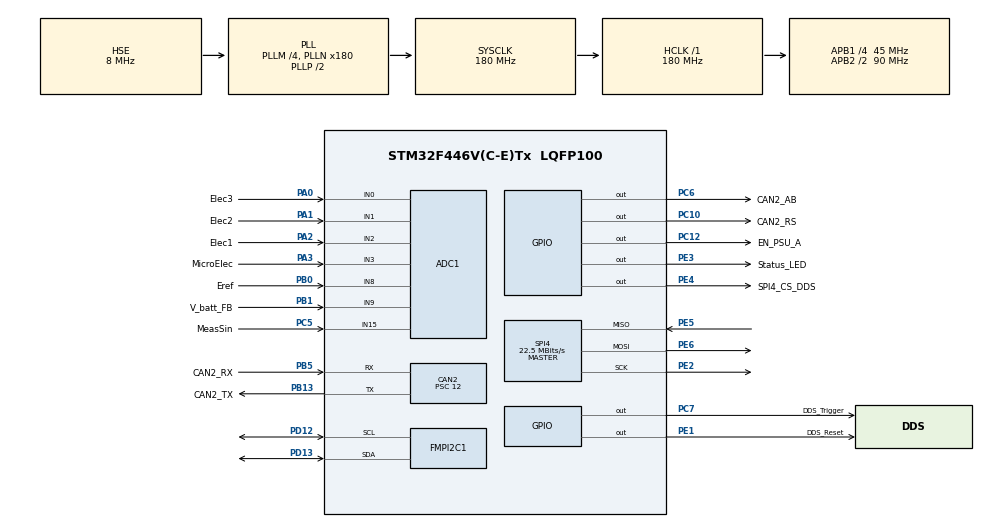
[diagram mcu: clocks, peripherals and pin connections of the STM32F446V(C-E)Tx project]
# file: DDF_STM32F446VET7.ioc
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ADC1.Channel-0\#ChannelRegularConversion=ADC_CHANNEL_9
ADC1.ContinuousConvMode=ENABLE
ADC1.EOCSelection=ADC_EOC_SEQ_CONV
ADC1.Mode=ADC_TRIPLEMODE_REGSIMULT
ADC1.NbrOfConversionFlag=1
ADC1.Rank-0\#ChannelRegularConversion=1
ADC1.SamplingTime-0\#ChannelRegularConversion=ADC_SAMPLETIME_3CYCLES
ADC1.master=1
ADC2.Channel-0\#ChannelRegularConversion=ADC_CHANNEL_8
ADC2.DMAAccessMode=ADC_DMAACCESSMODE_1
ADC2.EOCSelection=ADC_EOC_SEQ_CONV
ADC2.Mode=ADC_TRIPLEMODE_REGSIMULT
ADC2.NbrOfConversionFlag=1
ADC2.Rank-0\#ChannelRegularConversion=1
ADC2.SamplingTime-0\#ChannelRegularConversion=ADC_SAMPLETIME_3CYCLES
ADC3.Channel-0\#ChannelRegularConversion=ADC_CHANNEL_1
ADC3.EOCSelection=ADC_EOC_SEQ_CONV
ADC3.NbrOfConversionFlag=1
ADC3.Rank-0\#ChannelRegularConversion=1
ADC3.SamplingTime-0\#ChannelRegularConversion=ADC_SAMPLETIME_3CYCLES
CAN2.AWUM=DISABLE
CAN2.BS1=CAN_BS1_12TQ
CAN2.BS2=CAN_BS2_2TQ
CAN2.CalculateBaudRate=250000
CAN2.CalculateTimeBit=4000
CAN2.CalculateTimeQuantum=266.66666666666663
CAN2.Mode=CAN_MODE_NORMAL
CAN2.NART=ENABLE
CAN2.Prescaler=12
CAN2.SJW=CAN_SJW_1TQ
CAN2.TXFP=ENABLE
Dma.ADC1.0.Direction=DMA_PERIPH_TO_MEMORY
Dma.ADC1.0.FIFOMode=DMA_FIFOMODE_DISABLE
Dma.ADC1.0.Instance=DMA2_Stream0
Dma.ADC1.0.MemDataAlignment=DMA_MDATAALIGN_HALFWORD
Dma.ADC1.0.MemInc=DMA_MINC_ENABLE
Dma.ADC1.0.Mode=DMA_NORMAL
Dma.ADC1.0.PeriphDataAlignment=DMA_PDATAALIGN_HALFWORD
Dma.ADC1.0.PeriphInc=DMA_PINC_DISABLE
Dma.ADC1.0.Priority=DMA_PRIORITY_HIGH
Dma.ADC2.1.Direction=DMA_PERIPH_TO_MEMORY
Dma.ADC2.1.FIFOMode=DMA_FIFOMODE_DISABLE
Dma.ADC2.1.Instance=DMA2_Stream2
Dma.ADC2.1.MemDataAlignment=DMA_MDATAALIGN_HALFWORD
Dma.ADC2.1.MemInc=DMA_MINC_ENABLE
Dma.ADC2.1.Mode=DMA_NORMAL
Dma.ADC2.1.PeriphDataAlignment=DMA_PDATAALIGN_HALFWORD
Dma.ADC2.1.PeriphInc=DMA_PINC_DISABLE
Dma.ADC2.1.Priority=DMA_PRIORITY_HIGH
Dma.ADC3.2.Direction=DMA_PERIPH_TO_MEMORY
Dma.ADC3.2.FIFOMode=DMA_FIFOMODE_DISABLE
Dma.ADC3.2.Instance=DMA2_Stream1
Dma.ADC3.2.MemDataAlignment=DMA_MDATAALIGN_HALFWORD
Dma.ADC3.2.MemInc=DMA_MINC_ENABLE
Dma.ADC3.2.Mode=DMA_NORMAL
Dma.ADC3.2.PeriphDataAlignment=DMA_PDATAALIGN_HALFWORD
Dma.ADC3.2.PeriphInc=DMA_PINC_DISABLE
Dma.ADC3.2.Priority=DMA_PRIORITY_HIGH
Dma.Request0=ADC1
Dma.Request1=ADC2
Dma.Request2=ADC3
FMPI2C1.AddressingMode=FMPI2C_ADDRESSINGMODE_7BIT
FMPI2C1.Analog_Filter=FMPI2C_ANALOGFILTER_ENABLE
FMPI2C1.FMPI2C_Speed_Mode=FMPI2C_Fast
FMPI2C1.OwnAddress=1
FMPI2C1.Timing=0x00401650
IWDG.Prescaler=IWDG_PRESCALER_256
IWDG.Reload=(IWDG_TIMEOUT*LSI_CLOCK)/256
Mcu.Family=STM32F4
Mcu.Name=STM32F446V(C-E)Tx
Mcu.Package=LQFP100
Mcu.UserConstants=LSI_CLOCK,32000;IWDG_TIMEOUT,30
NVIC.CAN2_RX0_IRQn=true\:0\:0\:false\:false\:true\:true\:true\:true
NVIC.CAN2_SCE_IRQn=true\:0\:0\:false\:false\:true\:true\:true\:true
NVIC.CAN2_TX_IRQn=true\:0\:0\:false\:false\:true\:true\:true\:true
NVIC.DMA2_Stream0_IRQn=true\:0\:0\:false\:false\:true\:false\:true\:true
NVIC.DMA2_Stream1_IRQn=true\:0\:0\:false\:false\:true\:false\:true\:true
NVIC.DMA2_Stream2_IRQn=true\:0\:0\:false\:false\:true\:false\:true\:true
NVIC.PriorityGroup=NVIC_PRIORITYGROUP_4
NVIC.TIM8_UP_TIM13_IRQn=true\:1\:0\:true\:false\:true\:true\:true\:true
PA0-WKUP.GPIO_Label=Elec3
PA0-WKUP.Signal=ADCx_IN0
PA1.GPIO_Label=Elec2
PA1.Signal=ADCx_IN1
PA13.Mode=JTAG_5_pins
PA13.Signal=SYS_JTMS-SWDIO
PA14.Mode=JTAG_5_pins
PA14.Signal=SYS_JTCK-SWCLK
PA15.Mode=JTAG_5_pins
PA15.Signal=SYS_JTDI
PA2.GPIO_Label=Elec1
PA2.Signal=ADCx_IN2
PA3.GPIO_Label=MicroElec
PA3.Signal=ADCx_IN3
PB0.GPIO_Label=Eref
PB0.Signal=ADCx_IN8
PB1.GPIO_Label=V_batt_FB
PB1.Signal=ADCx_IN9
PB13.GPIO_Label=CAN2_TX
PB13.Mode=CAN_Activate
PB13.Signal=CAN2_TX
PB3.Mode=JTAG_5_pins
PB3.Signal=SYS_JTDO-SWO
PB4.Mode=JTAG_5_pins
PB4.Signal=SYS_JTRST
PB5.GPIO_Label=CAN2_RX
PB5.Mode=CAN_Activate
PB5.Signal=CAN2_RX
PC10.GPIO_Label=CAN2_RS
PC10.Signal=GPIO_Output
PC12.GPIO_Label=EN_PSU_A
PC12.Signal=GPIO_Output
PC5.GPIO_Label=MeasSin
PC5.Signal=ADCx_IN15
PC6.GPIO_Label=CAN2_AB
PC6.Signal=GPIO_Output
PC7.GPIO_Label=DDS_Trigger
PC7.GPIO_Speed=GPIO_SPEED_FREQ_VERY_HIGH
PC7.PinState=GPIO_PIN_SET
PC7.Signal=GPIO_Output
PD12.GPIO_PuPdOD=GPIO_NOPULL
PD12.Mode=I2C
PD12.Signal=FMPI2C1_SCL
PD13.GPIO_PuPdOD=GPIO_NOPULL
PD13.Mode=I2C
PD13.Signal=FMPI2C1_SDA
PE1.GPIO_Label=DDS_Reset
PE1.GPIO_Speed=GPIO_SPEED_FREQ_LOW
PE1.PinState=GPIO_PIN_SET
PE1.Signal=GPIO_Output
PE2.Mode=Full_Duplex_Master
PE2.Signal=SPI4_SCK
PE3.GPIO_Label=Status_LED
PE3.Signal=GPIO_Output
PE4.GPIO_Label=SPI4_CS_DDS
PE4.GPIO_Speed=GPIO_SPEED_FREQ_VERY_HIGH
PE4.PinState=GPIO_PIN_SET
PE4.Signal=GPIO_Output
PE5.Mode=Full_Duplex_Master
PE5.Signal=SPI4_MISO
PE6.Mode=Full_Duplex_Master
PE6.Signal=SPI4_MOSI
PH0-OSC_IN.Mode=HSE-External-Oscillator
PH0-OSC_IN.Signal=RCC_OSC_IN
PH1-OSC_OUT.Mode=HSE-External-Oscillator
PH1-OSC_OUT.Signal=RCC_OSC_OUT
ProjectManager.HeapSize=0x200
ProjectManager.StackSize=0x400
ProjectManager.TargetToolchain=STM32CubeIDE
RCC.AHBFreq_Value=180000000
RCC.APB1CLKDivider=RCC_HCLK_DIV4
RCC.APB1Freq_Value=45000000
RCC.APB1TimFreq_Value=90000000
RCC.APB2CLKDivider=RCC_HCLK_DIV2
RCC.APB2Freq_Value=90000000
RCC.APB2TimFreq_Value=180000000
RCC.CortexFreq_Value=180000000
RCC.HCLKFreq_Value=180000000
RCC.HSE_VALUE=8000000
RCC.PLLM=4
RCC.PLLN=180
RCC.PLLSourceVirtual=RCC_PLLSOURCE_HSE
RCC.SYSCLKFreq_VALUE=180000000
RCC.SYSCLKSource=RCC_SYSCLKSOURCE_PLLCLK
RCC.USBFreq_Value=180000000
RCC.VCOOutputFreq_Value=360000000
SH.ADCx_IN0.0=ADC1_IN0,IN0
SH.ADCx_IN0.1=ADC2_IN0,IN0
SH.ADCx_IN0.2=ADC3_IN0,IN0
SH.ADCx_IN1.0=ADC1_IN1,IN1
SH.ADCx_IN1.1=ADC2_IN1,IN1
SH.ADCx_IN1.2=ADC3_IN1,IN1
SH.ADCx_IN15.0=ADC1_IN15,IN15
SH.ADCx_IN15.1=ADC2_IN15,IN15
SH.ADCx_IN2.0=ADC1_IN2,IN2
SH.ADCx_IN2.1=ADC2_IN2,IN2
SH.ADCx_IN2.2=ADC3_IN2,IN2
SH.ADCx_IN3.0=ADC1_IN3,IN3
SH.ADCx_IN3.1=ADC2_IN3,IN3
SH.ADCx_IN3.2=ADC3_IN3,IN3
SH.ADCx_IN8.0=ADC1_IN8,IN8
SH.ADCx_IN8.1=ADC2_IN8,IN8
SH.ADCx_IN9.0=ADC1_IN9,IN9
SH.ADCx_IN9.1=ADC2_IN9,IN9
SPI4.BaudRatePrescaler=SPI_BAUDRATEPRESCALER_4
SPI4.CalculateBaudRate=22.5 MBits/s
SPI4.DataSize=SPI_DATASIZE_16BIT
SPI4.Direction=SPI_DIRECTION_2LINES
SPI4.Mode=SPI_MODE_MASTER
SPI4.VirtualType=VM_MASTER
TIM8.Channel-PWM\ Generation3\ No\ Output=TIM_CHANNEL_3
TIM8.OCFastMode_PWM-PWM\ Generation3\ No\ Output=TIM_OCFAST_ENABLE
TIM8.Period=9
TIM8.Prescaler=179
TIM8.Pulse-PWM\ Generation3\ No\ Output=5
VP_ADC1_TempSens_Input.Mode=IN-TempSens
VP_CRC_VS_CRC.Mode=CRC_Activate
VP_IWDG_VS_IWDG.Mode=IWDG_Activate
VP_TIM8_VS_ClockSourceINT.Mode=Internal
VP_TIM8_VS_no_output3.Mode=PWM Generation3 No Output
board=custom

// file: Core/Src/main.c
/* USER CODE BEGIN Header */
/**
 ******************************************************************************
 * @file           : main.c
 * @brief          : Main program body
 ******************************************************************************
 * @attention
 *
 * Copyright (c) 2023 STMicroelectronics.
 * All rights reserved.
 *
 * This software is licensed under terms that can be found in the LICENSE file
 * in the root directory of this software component.
 * If no LICENSE file comes with this software, it is provided AS-IS.
 *
 ******************************************************************************
 */

#define __MAIN_C
/* USER CODE END Header */
#include "main.h"

/* USER CODE BEGIN Includes */
#include "math.h"
#include "FLASH.h"
#include "ADC.h"
#include "Bootloader.h"
#include "CAN.h"
#include "LockIn.h"
#include "AS6214.h"
#include "DDS.h"
#include "MovingAverage.h"

/* USER CODE END Includes */

ADC_HandleTypeDef hadc1;
ADC_HandleTypeDef hadc2;
ADC_HandleTypeDef hadc3;
DMA_HandleTypeDef hdma_adc1;
DMA_HandleTypeDef hdma_adc2;
DMA_HandleTypeDef hdma_adc3;

CAN_HandleTypeDef hcan2;

CRC_HandleTypeDef hcrc;

FMPI2C_HandleTypeDef hfmpi2c1;

IWDG_HandleTypeDef hiwdg;

SPI_HandleTypeDef hspi4;

TIM_HandleTypeDef htim8;

/* USER CODE BEGIN PV */
extern CAN_RxHeaderTypeDef CAN_Rx_Header;
extern CAN_TRx_Data_TypeDef CAN_Rx_Data;

AD9106_HandleTypeDef DDS = {&hspi4, SPI4_CS_DDS_GPIO_Port, SPI4_CS_DDS_Pin, DDS_Reset_GPIO_Port, DDS_Reset_Pin, DDS_Trigger_GPIO_Port, DDS_Trigger_Pin};

AS6212_HandleTypeDef Temp_links = {&hfmpi2c1,0x48};
AS6212_HandleTypeDef Temp_mitte = {&hfmpi2c1,0x49};
AS6212_HandleTypeDef Temp_rechts = {&hfmpi2c1,0x4A};
AS6212_HandleTypeDef Temp_Elektrode = {&hfmpi2c1,0x4B};
/* USER CODE END PV */

void SystemClock_Config(void);
static void MX_GPIO_Init(void);
static void MX_DMA_Init(void);
static void MX_ADC1_Init(void);
static void MX_TIM8_Init(void);
static void MX_CAN2_Init(void);
static void MX_ADC2_Init(void);
static void MX_ADC3_Init(void);
static void MX_CRC_Init(void);
static void MX_SPI4_Init(void);
static void MX_FMPI2C1_Init(void);
static void MX_IWDG_Init(void);
/* USER CODE BEGIN PFP */
static void InitFactory(void);
void HAL_ADC_ConvCpltCallback(ADC_HandleTypeDef *hadc);
void HAL_CAN_RxFifo0MsgPendingCallback(CAN_HandleTypeDef *hcan);
AppError_t SystemCheck(void);
AppError_t WakeUp(void);

void AS6214_Init(void);
void nextstate(state_t_TypeDef nstate_t);
void MeasMode_Normal(LockIn_Results_TypeDef *hLockIn_Results);
void MeasMode_Sweep_Freq(LockIn_Results_TypeDef *hLockIn_Results);
void MeasMode_Single(LockIn_Results_TypeDef *hLockIn_Results);
void MeasMode_Sweep_Gain(LockIn_Results_TypeDef *hLockIn_Results);
void MeasMode_Sweep_Phase(LockIn_Results_TypeDef *hLockIn_Results);
void SweepParameter(LockIn_Results_TypeDef *hLockIn_Results);
void AutoZero(LockIn_Results_TypeDef *hLockIn_Results);
void SampleCalc(uint8_t Preset, uint16_t uAverages, const ElecTypeDef Sample_Elec[], LockIn_Results_TypeDef *hLockIn_Results);
void SampleCalcSingle(uint8_t Preset, uint16_t uAverages, const ElecTypeDef Sample_Elec, LockIn_Results_TypeDef *hLockIn_Results);

/* USER CODE END PFP */

int main(void)
{

  /* USER CODE BEGIN 1 */
	//JumpToBootloader();
  /* USER CODE END 1 */

  /* MCU Configuration--------------------------------------------------------*/

  /* Reset of all peripherals, Initializes the Flash interface and the Systick. */
  HAL_Init();

  /* Configure the system clock */
  SystemClock_Config();

  /* USER CODE BEGIN SysInit */
  //Refresh watchdog, can't use HAL function because IWDG handle is not initialized yet
  WRITE_REG(IWDG->KR, IWDG_KEY_RELOAD);
  //Initialisiert variablen für CANBUS
  InitFactory();
  /* USER CODE END SysInit */

  /* Initialize all configured peripherals */
  MX_GPIO_Init();
  MX_DMA_Init();
  MX_ADC1_Init();
  MX_TIM8_Init();
  MX_CAN2_Init();
  MX_ADC2_Init();
  MX_ADC3_Init();
  MX_CRC_Init();
  MX_SPI4_Init();
  MX_FMPI2C1_Init();
  MX_IWDG_Init();
  /* USER CODE BEGIN 2 */
	//Initialisieren aller Parameter
	InitGlobalVar();

	//  SystemCheck();
	WakeUp();

	__enable_irq();

  /* USER CODE END 2 */

  /* Infinite loop */
  /* USER CODE BEGIN WHILE */
	state_t_cur = stateIdle;
	while (1) {
    /* USER CODE END WHILE */

    /* USER CODE BEGIN 3 */
		HAL_IWDG_Refresh(&hiwdg);
		switch (state_t_cur) {
		case stateIdle:
			//nextstate(stateIdle);
			break;

		case stateSendLockIn:
			switch(TIS_Sensor.MeasMode){
				case MEASMODE_NORMAL:
					MeasMode_Normal(&LockIn_Results);
					break;

				case MEASMODE_SWEEP_FREQ:
					MeasMode_Sweep_Freq(&LockIn_Results);
					break;

				case MEASMODE_SINGLE:
					MeasMode_Single(&LockIn_Results);
					break;
//				case MEASMODE_SWEEP_GAIN:
//					MeasMode_Sweep_Gain(&LockIn_Results);
//					break;
//
//				case MEASMODE_SWEEP_PHASE:
//					MeasMode_Sweep_Phase(&LockIn_Results);
//					break;

				default:
					break;
			}
			nextstate(stateIdle);
			break;

		case stateSendAdditionalData:
				ADC_Vbat(&VBat);
				fTemp_Sensor[0] = AS6212_getTempC(&Temp_links);
				fTemp_Sensor[1] = AS6212_getTempC(&Temp_mitte);
				fTemp_Sensor[2] = AS6212_getTempC(&Temp_rechts);
				fTemp_Sensor[3] = AS6212_getTempC(&Temp_Elektrode);
				CAN_SendTemp_Vbat(&hcan2, fTemp_Sensor, &VBat);
				nextstate(stateIdle);
			break;

		case stateSendRawData:
			for (uint8_t uPre = 0; uPre < 3; uPre++) {	//Toggle alle 3 Frequenzen durch
				DDS_set_Preset(&DDS, &TIS_Sensor.Preset[uPre].DDS_Preset);

				SampleCalc(uPre, 1, &SampleElec[0][0], &LockIn_Results);
				while (ADC_Sampling.readIndex.Channel < 3
						&& ADC_Sampling.readIndex.Pos < ADC_Sampling.Length) {
					CAN_Send_ADC_RawData(&hcan2, uPre, &SampleElec[0][0]);	//Sende Rohwerte
				}

				SampleCalc(uPre, 1, &SampleElec[1][0], &LockIn_Results);
				while (ADC_Sampling.readIndex.Channel < 3
						&& ADC_Sampling.readIndex.Pos < ADC_Sampling.Length) {
					CAN_Send_ADC_RawData(&hcan2, uPre, &SampleElec[1][0]);	//Sende Rohwerte
				}
			}
			CAN_SendSensorInfo(&hcan2);
			CAN_SendError(&hcan2, APP_ERROR_OK);
			CAN_SendFreq_All(&hcan2);
			nextstate(stateIdle);
			break;

		case stateSendMetaData:
			CAN_Send_Systick(&hcan2);
			CAN_SendFreq_All(&hcan2);
			CAN_SendGainPhase_All(&hcan2);
			CAN_Send_Averages(&hcan2);
			nextstate(stateIdle);
			break;

		case stateSweepParameter:
			//Achtung: Möglicherweise Lange Laufzeit des Programms, je nach Parameter
			SweepParameter(&LockIn_Results);
			nextstate(stateIdle);
			break;

		case stateAutoZero:
			AutoZero(&LockIn_Results);
			nextstate(stateIdle);
			break;

		case stateSetCanFreq:
			CAN_Set_Freq_Preset(&hcan2, TIS_Sensor.CAN_Freq_Preset);
			nextstate(stateIdle);
			break;

		default:
			nextstate(stateIdle);
			break;
		}
		state_t_cur = state_t_next;
	}
  /* USER CODE END 3 */
}

void SystemClock_Config(void)
{
  RCC_OscInitTypeDef RCC_OscInitStruct = {0};
  RCC_ClkInitTypeDef RCC_ClkInitStruct = {0};

  /** Configure the main internal regulator output voltage
  */
  __HAL_RCC_PWR_CLK_ENABLE();
  __HAL_PWR_VOLTAGESCALING_CONFIG(PWR_REGULATOR_VOLTAGE_SCALE1);

  /** Initializes the RCC Oscillators according to the specified parameters
  * in the RCC_OscInitTypeDef structure.
  */
  RCC_OscInitStruct.OscillatorType = RCC_OSCILLATORTYPE_LSI|RCC_OSCILLATORTYPE_HSE;
  RCC_OscInitStruct.HSEState = RCC_HSE_ON;
  RCC_OscInitStruct.LSIState = RCC_LSI_ON;
  RCC_OscInitStruct.PLL.PLLState = RCC_PLL_ON;
  RCC_OscInitStruct.PLL.PLLSource = RCC_PLLSOURCE_HSE;
  RCC_OscInitStruct.PLL.PLLM = 4;
  RCC_OscInitStruct.PLL.PLLN = 180;
  RCC_OscInitStruct.PLL.PLLP = RCC_PLLP_DIV2;
  RCC_OscInitStruct.PLL.PLLQ = 2;
  RCC_OscInitStruct.PLL.PLLR = 2;
  if (HAL_RCC_OscConfig(&RCC_OscInitStruct) != HAL_OK)
  {
    Error_Handler();
  }

  /** Activate the Over-Drive mode
  */
  if (HAL_PWREx_EnableOverDrive() != HAL_OK)
  {
    Error_Handler();
  }

  /** Initializes the CPU, AHB and APB buses clocks
  */
  RCC_ClkInitStruct.ClockType = RCC_CLOCKTYPE_HCLK|RCC_CLOCKTYPE_SYSCLK
                              |RCC_CLOCKTYPE_PCLK1|RCC_CLOCKTYPE_PCLK2;
  RCC_ClkInitStruct.SYSCLKSource = RCC_SYSCLKSOURCE_PLLCLK;
  RCC_ClkInitStruct.AHBCLKDivider = RCC_SYSCLK_DIV1;
  RCC_ClkInitStruct.APB1CLKDivider = RCC_HCLK_DIV4;
  RCC_ClkInitStruct.APB2CLKDivider = RCC_HCLK_DIV2;

  if (HAL_RCC_ClockConfig(&RCC_ClkInitStruct, FLASH_LATENCY_5) != HAL_OK)
  {
    Error_Handler();
  }
}

static void MX_ADC1_Init(void)
{

  ADC_MultiModeTypeDef multimode = {0};
  ADC_ChannelConfTypeDef sConfig = {0};

  /** Configure the global features of the ADC (Clock, Resolution, Data Alignment and number of conversion)
  */
  hadc1.Instance = ADC1;
  hadc1.Init.ClockPrescaler = ADC_CLOCK_SYNC_PCLK_DIV4;
  hadc1.Init.Resolution = ADC_RESOLUTION_12B;
  hadc1.Init.ScanConvMode = DISABLE;
  hadc1.Init.ContinuousConvMode = ENABLE;
  hadc1.Init.DiscontinuousConvMode = DISABLE;
  hadc1.Init.ExternalTrigConvEdge = ADC_EXTERNALTRIGCONVEDGE_NONE;
  hadc1.Init.ExternalTrigConv = ADC_SOFTWARE_START;
  hadc1.Init.DataAlign = ADC_DATAALIGN_RIGHT;
  hadc1.Init.NbrOfConversion = 1;
  hadc1.Init.DMAContinuousRequests = DISABLE;
  hadc1.Init.EOCSelection = ADC_EOC_SEQ_CONV;
  if (HAL_ADC_Init(&hadc1) != HAL_OK)
  {
    Error_Handler();
  }

  /** Configure the ADC multi-mode
  */
  multimode.Mode = ADC_TRIPLEMODE_REGSIMULT;
  multimode.DMAAccessMode = ADC_DMAACCESSMODE_1;
  multimode.TwoSamplingDelay = ADC_TWOSAMPLINGDELAY_5CYCLES;
  if (HAL_ADCEx_MultiModeConfigChannel(&hadc1, &multimode) != HAL_OK)
  {
    Error_Handler();
  }

  /** Configure for the selected ADC regular channel its corresponding rank in the sequencer and its sample time.
  */
  sConfig.Channel = ADC_CHANNEL_9;
  sConfig.Rank = 1;
  sConfig.SamplingTime = ADC_SAMPLETIME_3CYCLES;
  if (HAL_ADC_ConfigChannel(&hadc1, &sConfig) != HAL_OK)
  {
    Error_Handler();
  }

}

static void MX_ADC2_Init(void)
{

  ADC_ChannelConfTypeDef sConfig = {0};

  /** Configure the global features of the ADC (Clock, Resolution, Data Alignment and number of conversion)
  */
  hadc2.Instance = ADC2;
  hadc2.Init.ClockPrescaler = ADC_CLOCK_SYNC_PCLK_DIV4;
  hadc2.Init.Resolution = ADC_RESOLUTION_12B;
  hadc2.Init.ScanConvMode = DISABLE;
  hadc2.Init.ContinuousConvMode = ENABLE;
  hadc2.Init.DiscontinuousConvMode = DISABLE;
  hadc2.Init.DataAlign = ADC_DATAALIGN_RIGHT;
  hadc2.Init.NbrOfConversion = 1;
  hadc2.Init.DMAContinuousRequests = DISABLE;
  hadc2.Init.EOCSelection = ADC_EOC_SEQ_CONV;
  if (HAL_ADC_Init(&hadc2) != HAL_OK)
  {
    Error_Handler();
  }

  /** Configure for the selected ADC regular channel its corresponding rank in the sequencer and its sample time.
  */
  sConfig.Channel = ADC_CHANNEL_8;
  sConfig.Rank = 1;
  sConfig.SamplingTime = ADC_SAMPLETIME_3CYCLES;
  if (HAL_ADC_ConfigChannel(&hadc2, &sConfig) != HAL_OK)
  {
    Error_Handler();
  }

}

static void MX_ADC3_Init(void)
{

  ADC_ChannelConfTypeDef sConfig = {0};

  /** Configure the global features of the ADC (Clock, Resolution, Data Alignment and number of conversion)
  */
  hadc3.Instance = ADC3;
  hadc3.Init.ClockPrescaler = ADC_CLOCK_SYNC_PCLK_DIV4;
  hadc3.Init.Resolution = ADC_RESOLUTION_12B;
  hadc3.Init.ScanConvMode = DISABLE;
  hadc3.Init.ContinuousConvMode = ENABLE;
  hadc3.Init.DiscontinuousConvMode = DISABLE;
  hadc3.Init.DataAlign = ADC_DATAALIGN_RIGHT;
  hadc3.Init.NbrOfConversion = 1;
  hadc3.Init.DMAContinuousRequests = DISABLE;
  hadc3.Init.EOCSelection = ADC_EOC_SEQ_CONV;
  if (HAL_ADC_Init(&hadc3) != HAL_OK)
  {
    Error_Handler();
  }

  /** Configure for the selected ADC regular channel its corresponding rank in the sequencer and its sample time.
  */
  sConfig.Channel = ADC_CHANNEL_1;
  sConfig.Rank = 1;
  sConfig.SamplingTime = ADC_SAMPLETIME_3CYCLES;
  if (HAL_ADC_ConfigChannel(&hadc3, &sConfig) != HAL_OK)
  {
    Error_Handler();
  }

}

static void MX_CAN2_Init(void)
{

  /* USER CODE BEGIN CAN2_Init 0 */
	CAN_Init_Tx_Header();
  /* USER CODE END CAN2_Init 0 */

  /* USER CODE BEGIN CAN2_Init 1 */
	//Bittimings: http://www.bittiming.can-wiki.info/
  /* USER CODE END CAN2_Init 1 */
  hcan2.Instance = CAN2;
  hcan2.Init.Prescaler = 12;
  hcan2.Init.Mode = CAN_MODE_NORMAL;
  hcan2.Init.SyncJumpWidth = CAN_SJW_1TQ;
  hcan2.Init.TimeSeg1 = CAN_BS1_12TQ;
  hcan2.Init.TimeSeg2 = CAN_BS2_2TQ;
  hcan2.Init.TimeTriggeredMode = DISABLE;
  hcan2.Init.AutoBusOff = DISABLE;
  hcan2.Init.AutoWakeUp = DISABLE;
  hcan2.Init.AutoRetransmission = ENABLE;
  hcan2.Init.ReceiveFifoLocked = DISABLE;
  hcan2.Init.TransmitFifoPriority = ENABLE;
  if (HAL_CAN_Init(&hcan2) != HAL_OK)
  {
    Error_Handler();
  }
  /* USER CODE BEGIN CAN2_Init 2 */
	//Filtersetup für allgemein eingehende Nachrichten auf CAN_SENSOR_ADR
  	//Wenn das Ergebnis der bitweisen AND-Operation zwischen dem empfangenen Identifier und der Maske gleich der Filter-Id ist, dann wird die Nachricht vom Filter akzeptiert.
	CAN_FilterTypeDef CAN_FILTER_CONFIG;
	CAN_FILTER_CONFIG.FilterActivation = CAN_FILTER_ENABLE;
	CAN_FILTER_CONFIG.SlaveStartFilterBank = 1;	//insgesamt 28 Filter, geteilt zwischen CAN1 (Master) CAN2(Slave) aktuell Can1: 0 Can2: 1-27
	CAN_FILTER_CONFIG.FilterBank = 1;		//Alles ab SlaveStartFilterBank
	CAN_FILTER_CONFIG.FilterFIFOAssignment = CAN_RX_FIFO0;
	CAN_FILTER_CONFIG.FilterIdHigh = (CAN_SENSOR_FILTER_ID(can_sensor_id) >> 16) & 0xFFFF;	//Shift um 5, da EXID die ersten 5 Bits belegt. [RM0390 Rev 6 S.1057]
	CAN_FILTER_CONFIG.FilterIdLow = CAN_SENSOR_FILTER_ID(can_sensor_id) & 0xFFFF;
	CAN_FILTER_CONFIG.FilterMaskIdHigh = (CAN_SENSOR_FILTER_MASK >> 16) & 0xFFFF;
	CAN_FILTER_CONFIG.FilterMaskIdLow = CAN_SENSOR_FILTER_MASK & 0xFFFF;
	CAN_FILTER_CONFIG.FilterMode = CAN_FILTERMODE_IDMASK;
	CAN_FILTER_CONFIG.FilterScale = CAN_FILTERSCALE_32BIT;
	if (HAL_CAN_ConfigFilter(&hcan2, &CAN_FILTER_CONFIG) != HAL_OK) {
		Error_Handler();
	}
  /* USER CODE END CAN2_Init 2 */

}

static void MX_CRC_Init(void)
{

  hcrc.Instance = CRC;
  if (HAL_CRC_Init(&hcrc) != HAL_OK)
  {
    Error_Handler();
  }

}

static void MX_FMPI2C1_Init(void)
{

  hfmpi2c1.Instance = FMPI2C1;
  hfmpi2c1.Init.Timing = 0x00401650;
  hfmpi2c1.Init.OwnAddress1 = 2;
  hfmpi2c1.Init.AddressingMode = FMPI2C_ADDRESSINGMODE_7BIT;
  hfmpi2c1.Init.DualAddressMode = FMPI2C_DUALADDRESS_DISABLE;
  hfmpi2c1.Init.OwnAddress2 = 0;
  hfmpi2c1.Init.OwnAddress2Masks = FMPI2C_OA2_NOMASK;
  hfmpi2c1.Init.GeneralCallMode = FMPI2C_GENERALCALL_DISABLE;
  hfmpi2c1.Init.NoStretchMode = FMPI2C_NOSTRETCH_DISABLE;
  if (HAL_FMPI2C_Init(&hfmpi2c1) != HAL_OK)
  {
    Error_Handler();
  }

  /** Configure Analogue filter
  */
  if (HAL_FMPI2CEx_ConfigAnalogFilter(&hfmpi2c1, FMPI2C_ANALOGFILTER_ENABLE) != HAL_OK)
  {
    Error_Handler();
  }

}

static void MX_IWDG_Init(void)
{

  hiwdg.Instance = IWDG;
  hiwdg.Init.Prescaler = IWDG_PRESCALER_256;
  hiwdg.Init.Reload = (IWDG_TIMEOUT*LSI_CLOCK)/256;
  if (HAL_IWDG_Init(&hiwdg) != HAL_OK)
  {
    Error_Handler();
  }

}

static void MX_SPI4_Init(void)
{

  /* SPI4 parameter configuration*/
  hspi4.Instance = SPI4;
  hspi4.Init.Mode = SPI_MODE_MASTER;
  hspi4.Init.Direction = SPI_DIRECTION_2LINES;
  hspi4.Init.DataSize = SPI_DATASIZE_16BIT;
  hspi4.Init.CLKPolarity = SPI_POLARITY_LOW;
  hspi4.Init.CLKPhase = SPI_PHASE_1EDGE;
  hspi4.Init.NSS = SPI_NSS_SOFT;
  hspi4.Init.BaudRatePrescaler = SPI_BAUDRATEPRESCALER_4;
  hspi4.Init.FirstBit = SPI_FIRSTBIT_MSB;
  hspi4.Init.TIMode = SPI_TIMODE_DISABLE;
  hspi4.Init.CRCCalculation = SPI_CRCCALCULATION_DISABLE;
  hspi4.Init.CRCPolynomial = 10;
  if (HAL_SPI_Init(&hspi4) != HAL_OK)
  {
    Error_Handler();
  }

}

static void MX_TIM8_Init(void)
{

  TIM_ClockConfigTypeDef sClockSourceConfig = {0};
  TIM_MasterConfigTypeDef sMasterConfig = {0};
  TIM_OC_InitTypeDef sConfigOC = {0};
  TIM_BreakDeadTimeConfigTypeDef sBreakDeadTimeConfig = {0};

  htim8.Instance = TIM8;
  htim8.Init.Prescaler = 179;
  htim8.Init.CounterMode = TIM_COUNTERMODE_UP;
  htim8.Init.Period = 9;
  htim8.Init.ClockDivision = TIM_CLOCKDIVISION_DIV1;
  htim8.Init.RepetitionCounter = 0;
  htim8.Init.AutoReloadPreload = TIM_AUTORELOAD_PRELOAD_DISABLE;
  if (HAL_TIM_Base_Init(&htim8) != HAL_OK)
  {
    Error_Handler();
  }
  sClockSourceConfig.ClockSource = TIM_CLOCKSOURCE_INTERNAL;
  if (HAL_TIM_ConfigClockSource(&htim8, &sClockSourceConfig) != HAL_OK)
  {
    Error_Handler();
  }
  if (HAL_TIM_PWM_Init(&htim8) != HAL_OK)
  {
    Error_Handler();
  }
  sMasterConfig.MasterOutputTrigger = TIM_TRGO_RESET;
  sMasterConfig.MasterSlaveMode = TIM_MASTERSLAVEMODE_DISABLE;
  if (HAL_TIMEx_MasterConfigSynchronization(&htim8, &sMasterConfig) != HAL_OK)
  {
    Error_Handler();
  }
  sConfigOC.OCMode = TIM_OCMODE_PWM1;
  sConfigOC.Pulse = 5;
  sConfigOC.OCPolarity = TIM_OCPOLARITY_HIGH;
  sConfigOC.OCNPolarity = TIM_OCNPOLARITY_HIGH;
  sConfigOC.OCFastMode = TIM_OCFAST_ENABLE;
  sConfigOC.OCIdleState = TIM_OCIDLESTATE_RESET;
  sConfigOC.OCNIdleState = TIM_OCNIDLESTATE_RESET;
  if (HAL_TIM_PWM_ConfigChannel(&htim8, &sConfigOC, TIM_CHANNEL_3) != HAL_OK)
  {
    Error_Handler();
  }
  sBreakDeadTimeConfig.OffStateRunMode = TIM_OSSR_DISABLE;
  sBreakDeadTimeConfig.OffStateIDLEMode = TIM_OSSI_DISABLE;
  sBreakDeadTimeConfig.LockLevel = TIM_LOCKLEVEL_OFF;
  sBreakDeadTimeConfig.DeadTime = 0;
  sBreakDeadTimeConfig.BreakState = TIM_BREAK_DISABLE;
  sBreakDeadTimeConfig.BreakPolarity = TIM_BREAKPOLARITY_HIGH;
  sBreakDeadTimeConfig.AutomaticOutput = TIM_AUTOMATICOUTPUT_DISABLE;
  if (HAL_TIMEx_ConfigBreakDeadTime(&htim8, &sBreakDeadTimeConfig) != HAL_OK)
  {
    Error_Handler();
  }

}

static void MX_DMA_Init(void)
{

  /* DMA controller clock enable */
  __HAL_RCC_DMA2_CLK_ENABLE();

  /* DMA interrupt init */
  /* DMA2_Stream0_IRQn interrupt configuration */
  HAL_NVIC_SetPriority(DMA2_Stream0_IRQn, 0, 0);
  HAL_NVIC_EnableIRQ(DMA2_Stream0_IRQn);
  /* DMA2_Stream1_IRQn interrupt configuration */
  HAL_NVIC_SetPriority(DMA2_Stream1_IRQn, 0, 0);
  HAL_NVIC_EnableIRQ(DMA2_Stream1_IRQn);
  /* DMA2_Stream2_IRQn interrupt configuration */
  HAL_NVIC_SetPriority(DMA2_Stream2_IRQn, 0, 0);
  HAL_NVIC_EnableIRQ(DMA2_Stream2_IRQn);

}

static void MX_GPIO_Init(void)
{
  GPIO_InitTypeDef GPIO_InitStruct = {0};

  /* GPIO Ports Clock Enable */
  __HAL_RCC_GPIOE_CLK_ENABLE();
  __HAL_RCC_GPIOH_CLK_ENABLE();
  __HAL_RCC_GPIOA_CLK_ENABLE();
  __HAL_RCC_GPIOC_CLK_ENABLE();
  __HAL_RCC_GPIOB_CLK_ENABLE();
  __HAL_RCC_GPIOD_CLK_ENABLE();

  /*Configure GPIO pin Output Level */
  HAL_GPIO_WritePin(Status_LED_GPIO_Port, Status_LED_Pin, GPIO_PIN_RESET);

  /*Configure GPIO pin Output Level */
  HAL_GPIO_WritePin(GPIOE, SPI4_CS_DDS_Pin|DDS_Reset_Pin, GPIO_PIN_SET);

  /*Configure GPIO pin Output Level */
  HAL_GPIO_WritePin(GPIOC, CAN2_AB_Pin|CAN2_RS_Pin|EN_PSU_A_Pin, GPIO_PIN_RESET);

  /*Configure GPIO pin Output Level */
  HAL_GPIO_WritePin(DDS_Trigger_GPIO_Port, DDS_Trigger_Pin, GPIO_PIN_SET);

  /*Configure GPIO pins : Status_LED_Pin DDS_Reset_Pin */
  GPIO_InitStruct.Pin = Status_LED_Pin|DDS_Reset_Pin;
  GPIO_InitStruct.Mode = GPIO_MODE_OUTPUT_PP;
  GPIO_InitStruct.Pull = GPIO_NOPULL;
  GPIO_InitStruct.Speed = GPIO_SPEED_FREQ_LOW;
  HAL_GPIO_Init(GPIOE, &GPIO_InitStruct);

  /*Configure GPIO pin : SPI4_CS_DDS_Pin */
  GPIO_InitStruct.Pin = SPI4_CS_DDS_Pin;
  GPIO_InitStruct.Mode = GPIO_MODE_OUTPUT_PP;
  GPIO_InitStruct.Pull = GPIO_NOPULL;
  GPIO_InitStruct.Speed = GPIO_SPEED_FREQ_VERY_HIGH;
  HAL_GPIO_Init(SPI4_CS_DDS_GPIO_Port, &GPIO_InitStruct);

  /*Configure GPIO pins : CAN2_AB_Pin CAN2_RS_Pin EN_PSU_A_Pin */
  GPIO_InitStruct.Pin = CAN2_AB_Pin|CAN2_RS_Pin|EN_PSU_A_Pin;
  GPIO_InitStruct.Mode = GPIO_MODE_OUTPUT_PP;
  GPIO_InitStruct.Pull = GPIO_NOPULL;
  GPIO_InitStruct.Speed = GPIO_SPEED_FREQ_LOW;
  HAL_GPIO_Init(GPIOC, &GPIO_InitStruct);

  /*Configure GPIO pin : DDS_Trigger_Pin */
  GPIO_InitStruct.Pin = DDS_Trigger_Pin;
  GPIO_InitStruct.Mode = GPIO_MODE_OUTPUT_PP;
  GPIO_InitStruct.Pull = GPIO_NOPULL;
  GPIO_InitStruct.Speed = GPIO_SPEED_FREQ_VERY_HIGH;
  HAL_GPIO_Init(DDS_Trigger_GPIO_Port, &GPIO_InitStruct);

}

/* USER CODE BEGIN 4 */
/**
 * @brief  Regular conversion complete callback in non blocking mode
 * @param  hadc pointer to a ADC_HandleTypeDef structure that contains
 *         the configuration information for the specified ADC.
 * @retval None
 */
void HAL_ADC_ConvCpltCallback(ADC_HandleTypeDef *hadc) {
	ADC_Sampling.ConCplet = 0;
	//HAL_ADCEx_MultiModeStop_DMA(&hadc1);

}

/**
 * @brief  Period elapsed callback in non-blocking mode
 * @param  htim TIM handle
 * @retval None
 */
void HAL_TIM_PeriodElapsedCallback(TIM_HandleTypeDef *htim) {
	ADC_Sampling.TimerSync = 0;
}

AppError_t SystemCheck(void) {
	// Spannungen Überprüfen, insbesondere Vref, und 5 V
	return APP_ERROR_OK;
}

AppError_t WakeUp(void) {
	HAL_GPIO_WritePin(EN_PSU_A_GPIO_Port, EN_PSU_A_Pin, GPIO_PIN_SET);
	//HAL_GPIO_WritePin(Status_LED_GPIO_Port, Status_LED_Pin, GPIO_PIN_SET);

//	HAL_TIM_Base_Start(&htim8);
//	HAL_TIM_PWM_Start(&htim8, TIM_CHANNEL_1);
//	__HAL_TIM_ENABLE_IT(&htim8, TIM_IT_UPDATE);

	CAN2_TRX_Set_Power(CAN_TRX_SET_POWER_ON);
	CAN2_TRX_Set_Loopback(CAN_TRX_SET_LOOPBACK_OFF);
	CAN_Set_Mode(&hcan2, CAN_SET_ENABLE);

	AS6214_Init();
	DDS_Init(&DDS);
	return APP_ERROR_OK;
}

void HAL_CAN_RxFifo0MsgPendingCallback(CAN_HandleTypeDef *hcan) {
	HAL_CAN_GetRxMessage(hcan, CAN_RX_FIFO0, &CAN_Rx_Header, CAN_Rx_Data.u8);
	CAN_ReadCMD();
}

void nextstate(state_t_TypeDef nstate_t) {
	if (state_t_cur == state_t_next) {//Dann wurde dieser nicht vom Host geändert.
		state_t_next = nstate_t;
	}
}

void SampleCalc(uint8_t Preset, uint16_t uAverages, const ElecTypeDef Sample_Elec[], LockIn_Results_TypeDef *hLockIn_Results){
	Lock_In_Results_Reset(hLockIn_Results);
	ADC_Sample_Elec_DDS(&Sample_Elec[0]);
	LockIn_CalcAdd(Preset, hLockIn_Results);
	if(uAverages>1){
		for(uint16_t i = 1; i<uAverages; i++){
			ADC_Sample_Elec_DDS(&Sample_Elec[0]);
			LockIn_CalcAdd(Preset, hLockIn_Results);
		}
		for(uint8_t i= 0; i<3 ; i++){
			hLockIn_Results->Ampl[i] /= uAverages;
			hLockIn_Results->Phase[i] /= uAverages;
		}
	}
}

void SampleCalcSingle(uint8_t Preset, uint16_t uAverages, const ElecTypeDef Sample_Elec, LockIn_Results_TypeDef *hLockIn_Results){
	Lock_In_Results_Reset(hLockIn_Results);
	ADC_Sample_Elec_DDS_Single(Sample_Elec);
	LockIn_CalcAdd(Preset, hLockIn_Results);
	if(uAverages>1){
		for(uint16_t i = 1; i<uAverages; i++){
			ADC_Sample_Elec_DDS_Single(Sample_Elec);
			LockIn_CalcAdd(Preset, hLockIn_Results);
		}
		for(uint8_t i= 0; i<3 ; i++){
			hLockIn_Results->Ampl[i] /= uAverages;
			hLockIn_Results->Phase[i] /= uAverages;
		}
	}
}

void MeasMode_Normal(LockIn_Results_TypeDef *hLockIn_Results){
	for (uint8_t uPre = 0; uPre < 3; uPre++) {
		HAL_GPIO_TogglePin(Status_LED_GPIO_Port, Status_LED_Pin);
		DDS_set_Preset(&DDS, &TIS_Sensor.Preset[uPre].DDS_Preset);

		SampleCalc(uPre, TIS_Sensor.Averages_LockIn, &SampleElec[0][0], hLockIn_Results);
		CAN_Send_MeasMode_Normal(&hcan2, uPre, &SampleElec[0][0], hLockIn_Results);
		SampleCalc(uPre, TIS_Sensor.Averages_LockIn, &SampleElec[1][0], hLockIn_Results);
		CAN_Send_MeasMode_Normal(&hcan2, uPre, &SampleElec[1][0], hLockIn_Results);
	}
}

void MeasMode_Sweep_Freq(LockIn_Results_TypeDef *hLockIn_Results){
	static uint32_t iSweep = 0;  // Fortschritt speichern
	float fSweep = TIS_Sensor.SweepParameter.fStart + iSweep * TIS_Sensor.SweepParameter.fStep;
	//Berechne Bestmögliche Frequenz des DDS
	fSweep = DDS_Calc_Freq(fSweep);

	// Überprüfen, ob der Sweep innerhalb seiner Grenzen ist
	if (fSweep < TIS_Sensor.SweepParameter.fStart ||
	    		fSweep > TIS_Sensor.SweepParameter.fStop) {
	        fSweep = TIS_Sensor.SweepParameter.fStart;  // Reset für neuen Zyklus
	        iSweep = 0;
	    }
				if(fSweep < PWM_FREQ_MIN
						|| fSweep > PWM_FREQ_MAX
						|| fSweep == TIS_Sensor.Preset[0].fFreq_ist){
					iSweep++;
					return;
				}
				TIS_Sensor.Preset[0].fFreq_soll = fSweep;
				Preset_Calc(0, TIS_Sensor.Preset[0].fFreq_soll);
				DDS_set_Preset(&DDS, &TIS_Sensor.Preset[0].DDS_Preset);

				//Starte Run:
				HAL_GPIO_TogglePin(Status_LED_GPIO_Port, Status_LED_Pin);
				SampleCalc(0, TIS_Sensor.Averages_LockIn, &SampleElec[0][0], hLockIn_Results);
				CAN_Send_MeasMode_Sweep(&hcan2, 0, &SampleElec[0][0], hLockIn_Results);
				SampleCalc(0, TIS_Sensor.Averages_LockIn, &SampleElec[1][0], hLockIn_Results);
				CAN_Send_MeasMode_Sweep(&hcan2, 0, &SampleElec[1][0], hLockIn_Results);

				iSweep++;
}

void MeasMode_Single(LockIn_Results_TypeDef *hLockIn_Results){
	ElecTypeDef Electrode = EMICRO;
	for (uint8_t uPre = 0; uPre < 3; uPre++) {
		HAL_GPIO_TogglePin(Status_LED_GPIO_Port, Status_LED_Pin);
		DDS_set_Preset(&DDS, &TIS_Sensor.Preset[uPre].DDS_Preset);

		SampleCalcSingle(uPre, TIS_Sensor.Averages_LockIn, Electrode, hLockIn_Results);
		CAN_Send_MeasMode_Single(&hcan2, uPre, Electrode, hLockIn_Results);
	}
}

void MeasMode_Sweep_Gain(LockIn_Results_TypeDef *hLockIn_Results){

}

void MeasMode_Sweep_Phase(LockIn_Results_TypeDef *hLockIn_Results){

}

void SweepParameter(LockIn_Results_TypeDef *hLockIn_Results){
	//Sichere altes Preset:
	Preset_TypeDef Preset_Backup = TIS_Sensor.Preset[0];

	switch(TIS_Sensor.SweepParameter.uParameter[0]){
	case SWEEP_MODE_FREQ:
		for(float fSweep=TIS_Sensor.SweepParameter.fStart; fSweep<TIS_Sensor.SweepParameter.fStop;fSweep+=TIS_Sensor.SweepParameter.fStep){
			if(fSweep < PWM_FREQ_MIN
					|| fSweep > PWM_FREQ_MAX){
				break;
			}
			TIS_Sensor.Preset[0].fFreq_soll = fSweep;
			Preset_Calc(0, TIS_Sensor.Preset[0].fFreq_soll);
			DDS_set_Preset(&DDS, &TIS_Sensor.Preset[0].DDS_Preset);

			//Starte Run:
			HAL_GPIO_TogglePin(Status_LED_GPIO_Port, Status_LED_Pin);
			CAN_SendFreq(&hcan2, 0);
			SampleCalc(0, TIS_Sensor.Averages_LockIn, &SampleElec[0][0], hLockIn_Results);
			SampleCalc(0, TIS_Sensor.Averages_LockIn, &SampleElec[1][0], hLockIn_Results);
		}
		break;
	case SWEEP_MODE_GAIN:
		if(TIS_Sensor.SweepParameter.uParameter[1] > 3){ //4 DDS Channel
			break;
		}
		for(float fSweep=TIS_Sensor.SweepParameter.fStart; fSweep<TIS_Sensor.SweepParameter.fStop;fSweep+=TIS_Sensor.SweepParameter.fStep){
			int16_t iGain = (int16_t)roundf(fSweep);
			if(iGain < DDS_GAIN_MIN
					|| iGain > DDS_GAIN_MAX){
				break;
			}
			TIS_Sensor.Preset[0].DDS_Preset.iDACx_Dig_Gain[TIS_Sensor.SweepParameter.uParameter[1]] = iGain;
			DDS_set_Preset(&DDS, &TIS_Sensor.Preset[0].DDS_Preset);

			//Starte Run:
			HAL_GPIO_TogglePin(Status_LED_GPIO_Port, Status_LED_Pin);
			CAN_SendGain(&hcan2, 0);
			SampleCalc(0, TIS_Sensor.Averages_LockIn, &SampleElec[0][0], hLockIn_Results);
			SampleCalc(0, TIS_Sensor.Averages_LockIn, &SampleElec[1][0], hLockIn_Results);
		}
		break;
	case SWEEP_MODE_PHASE:
		if(TIS_Sensor.SweepParameter.uParameter[1] > 3){ //4 DDS Channel
			break;
		}
		for(float fSweep=TIS_Sensor.SweepParameter.fStart; fSweep<TIS_Sensor.SweepParameter.fStop;fSweep+=TIS_Sensor.SweepParameter.fStep){
			uint16_t uPhase = (uint16_t)roundf(fSweep);
			if(uPhase < DDS_PHASE_MIN
					|| uPhase > DDS_PHASE_MAX){
				break;
			}
			TIS_Sensor.Preset[0].DDS_Preset.uDDSx_Phase[TIS_Sensor.SweepParameter.uParameter[1]] = uPhase;
			DDS_set_Preset(&DDS, &TIS_Sensor.Preset[0].DDS_Preset);

			//Starte Run:
			HAL_GPIO_TogglePin(Status_LED_GPIO_Port, Status_LED_Pin);
			CAN_SendPhase(&hcan2, 0);
			SampleCalc(0, TIS_Sensor.Averages_LockIn, &SampleElec[0][0], hLockIn_Results);
			SampleCalc(0, TIS_Sensor.Averages_LockIn, &SampleElec[1][0], hLockIn_Results);
		}
		break;
	default:
		break;
	}
	//Stelle altes Preset wieder her
	TIS_Sensor.Preset[0] = Preset_Backup;
	Preset_Calc(0, TIS_Sensor.Preset[0].fFreq_soll);
}

uint16_t AutoZero_FindGlobalMin_Phase(uint8_t uPreset, ElecTypeDef AutoZero_Elec[], ElecTypeDef uElec, LockIn_Results_TypeDef *hLockIn_Results, int32_t istart, int32_t istop, uint16_t istep){
	circular_buf_t buffer;
	CircularBuf_init(&buffer, 2048.0f);

	uint16_t uMin_index = 0;
	float fMinAverage = 2048;
	for(int32_t i = istart; i<= istop; i+= istep){
		TIS_Sensor.Preset[uPreset].DDS_Preset.uDDSx_Phase[Elec_to_DDS_mapping[uElec]] = i;
		DDS_set_Preset(&DDS, &TIS_Sensor.Preset[uPreset].DDS_Preset);
		CAN_SendPhase(&hcan2, uPreset);

		//Starte Messwertaufnahme:
		HAL_GPIO_TogglePin(Status_LED_GPIO_Port, Status_LED_Pin);
		SampleCalc(uPreset, TIS_Sensor.Averages_LockIn, &AutoZero_Elec[0], hLockIn_Results);
		switch(uElec){				//Achtung: Auslesen der Daten ist hartgecoded.
			case EMICRO:
				CircularBuf_addValue(&buffer, hLockIn_Results->Ampl[0]);
				break;
			case E1:
				CircularBuf_addValue(&buffer, hLockIn_Results->Ampl[1]);
				break;
			case E2:
				CircularBuf_addValue(&buffer, hLockIn_Results->Ampl[2]);
				break;
			default:
				CircularBuf_addValue(&buffer, 2048);
				break;
		}

		float current_average = CircularBuf_average(&buffer);
        if (current_average < fMinAverage) {
			if(i>=istep*(AUTOZERO_MOVING_AVERAGE_SIZE/2)){
				fMinAverage = current_average;
				uMin_index = i-istep*(AUTOZERO_MOVING_AVERAGE_SIZE/2);
        	}
        }
	}

	return uMin_index;
}

void AutoZero_Phase_Refinement_Logic(uint8_t uPreset, ElecTypeDef AutoZero_Elec[], ElecTypeDef uElec, LockIn_Results_TypeDef *hLockIn_Results){
	int32_t istart = DDS_PHASE_MIN;
	int32_t istop = DDS_PHASE_MAX;
	uint16_t ustep = AUTOZERO_INITIAL_STEP_PHASE;

	uint16_t uMin_index = 0;
	uint16_t iterations = 0;

	while (ustep > 1  && iterations < AUTOZERO_MAX_ITERATIONS) {
		uMin_index = AutoZero_FindGlobalMin_Phase(uPreset, &AutoZero_Elec[0], uElec, hLockIn_Results, istart, istop, ustep);

		// Definiere neuen Bereich um das gefundene Minimum
		istart = uMin_index - 100 * ustep;
		if (istart < DDS_PHASE_MIN) istart = DDS_PHASE_MIN;
		istop = uMin_index + 100 * ustep;
		if (istop > DDS_PHASE_MAX) istop = DDS_PHASE_MAX;

		// Verkleinere den Schritt für die nächste Verfeinerung
		ustep /= AUTOZERO_REFINEMENT_FACTOR;
		// Inkrementiere die Iterationszähler
		iterations++;
	}
	//
	//	    // Letzte Verfeinerung mit Schrittweite 1, falls maximale Iterationen erreicht oder Schrittweite 1
	uMin_index = AutoZero_FindGlobalMin_Phase(uPreset, &AutoZero_Elec[0], uElec, hLockIn_Results, istart, istop, 1);
	TIS_Sensor.Preset[uPreset].DDS_Preset.uDDSx_Phase[Elec_to_DDS_mapping[uElec]] = uMin_index;
	DDS_set_Preset(&DDS, &TIS_Sensor.Preset[uPreset].DDS_Preset);
}

int16_t AutoZero_FindGlobalMin_Gain(uint8_t uPreset, ElecTypeDef AutoZero_Elec[], ElecTypeDef uElec, LockIn_Results_TypeDef *hLockIn_Results){
	circular_buf_t buffer;
	CircularBuf_init(&buffer, 2048.0f);
	float fMinAverage = 2048;

	int16_t iMin_index = 0;

	for(int16_t i = 0; i<= DDS_GAIN_MAX; i+= AUTOZERO_STEP_GAIN){
		TIS_Sensor.Preset[uPreset].DDS_Preset.iDACx_Dig_Gain[Elec_to_DDS_mapping[uElec]] = i;
		DDS_set_Preset(&DDS, &TIS_Sensor.Preset[uPreset].DDS_Preset);
		CAN_SendGain(&hcan2, uPreset);

		//Starte Messwertaufnahme:
		HAL_GPIO_TogglePin(Status_LED_GPIO_Port, Status_LED_Pin);
		SampleCalc(uPreset, TIS_Sensor.Averages_LockIn, &AutoZero_Elec[0], hLockIn_Results);
		switch(uElec){				//Achtung: Auslesen der Daten ist hartgecoded.
			case EMICRO:
				CircularBuf_addValue(&buffer, hLockIn_Results->Ampl[0]);
				break;
			case E1:
				CircularBuf_addValue(&buffer, hLockIn_Results->Ampl[1]);
				break;
			case E2:
				CircularBuf_addValue(&buffer, hLockIn_Results->Ampl[2]);
				break;
			default:
				CircularBuf_addValue(&buffer, 2048);
				break;
		}

		float current_average = CircularBuf_average(&buffer);
        if (current_average < fMinAverage) {
			if(i>=AUTOZERO_STEP_GAIN*(AUTOZERO_MOVING_AVERAGE_SIZE/2)){
				fMinAverage = current_average;
				iMin_index = i-AUTOZERO_STEP_GAIN*(AUTOZERO_MOVING_AVERAGE_SIZE/2);
        	}
        }
	}
	TIS_Sensor.Preset[uPreset].DDS_Preset.iDACx_Dig_Gain[Elec_to_DDS_mapping[uElec]] = iMin_index;
	DDS_set_Preset(&DDS, &TIS_Sensor.Preset[uPreset].DDS_Preset);
	return iMin_index;
}

void AutoZero(LockIn_Results_TypeDef *hLockIn_Results){
	ElecTypeDef AutoZero_Elec[3] = {EMICRO, E1, E2};

	for (uint8_t uPreset = 0; uPreset < 3; uPreset++) {	//AutoZero für alle 3 Presets
		TIS_Sensor.Preset[uPreset].DDS_Preset.iDACx_Dig_Gain[Elec_to_DDS_mapping[AutoZero_Elec[0]]] = 2;
		TIS_Sensor.Preset[uPreset].DDS_Preset.iDACx_Dig_Gain[Elec_to_DDS_mapping[AutoZero_Elec[1]]] = 50;
		TIS_Sensor.Preset[uPreset].DDS_Preset.iDACx_Dig_Gain[Elec_to_DDS_mapping[AutoZero_Elec[2]]] = 50;
		DDS_set_Preset(&DDS, &TIS_Sensor.Preset[uPreset].DDS_Preset);

		for(ElecTypeDef uEl = EMICRO; uEl < EA; uEl++){	//AutoZero für die Elektroden EMikro,E1,E2,E3
			if (uEl == E3) {
				continue; // E3 auslassen, nicht belegt aktuell
			}
		AutoZero_Phase_Refinement_Logic(uPreset, &AutoZero_Elec[0], uEl, hLockIn_Results);
		AutoZero_FindGlobalMin_Gain(uPreset, &AutoZero_Elec[0], uEl, hLockIn_Results);
		}
	}
}

/**
  * @brief Can send and receive ID and frequency initialization
  * @param None
  * @note If no CanID is found then default ID is used which is defined in main.h
  * @retval None
  */
void InitFactory(void)
{
	//Check if Can basis ID is in Flash and use it, if not use default ID
	if(ConstantsData->canConfig.CanReceiveID != 0x00 && ConstantsData->canConfig.CanReceiveID != 0xFFFFFFFF)
	{
	  can_sensor_id = ConstantsData->canConfig.CanReceiveID;
	}
	else can_sensor_id = CAN_SENSOR_ID_DEFAULT;

	//Check if sendId and Frequency are initialized if not initialize and write to flash
	if(ConstantsData->canConfig.CanSendID == 0x00 || ConstantsData->canConfig.CanSendID == 0xFFFFFFFF)
	{
	  CAN_Config_TypeDef newConfig;
	  newConfig.CanReceiveID = can_sensor_id;
	  newConfig.CanSendID	 = can_sensor_id + 0xFF00; //only used for bootloader
	  newConfig.CAN_Freq_Preset = CAN_FREQ_PRESET;
	  BOOT_UpdateConfig(newConfig);
	}
	//Check if Delete flag is still 1 and reset
	if(ConstantsData->deleteFlag.delete_flag) BOOT_SetDeleteFlag(0);
}

void FactoryReset(void){
	//Preset 0
	TIS_Sensor.Preset[0].fFreq_soll = PRESET0_FREQ;
	int16_t preset0_gain[4] = PRESET0_GAIN;
	uint16_t preset0_phase[4] = PRESET0_PHASE;
	for(uint8_t i = 0; i<4; i++){
		TIS_Sensor.Preset[0].DDS_Preset.iDACx_Dig_Gain[i] = preset0_gain[i];
		TIS_Sensor.Preset[0].DDS_Preset.uDDSx_Phase[i] = preset0_phase[i];
	}

	//Preset 1
	TIS_Sensor.Preset[1].fFreq_soll = PRESET1_FREQ;
	int16_t preset1_gain[4] = PRESET1_GAIN;
	uint16_t preset1_phase[4] = PRESET1_PHASE;
	for(uint8_t i = 0; i<4; i++){
		TIS_Sensor.Preset[1].DDS_Preset.iDACx_Dig_Gain[i] = preset1_gain[i];
		TIS_Sensor.Preset[1].DDS_Preset.uDDSx_Phase[i] = preset1_phase[i];
	}

	//Preset 2
	TIS_Sensor.Preset[2].fFreq_soll = PRESET2_FREQ;
	int16_t preset2_gain[4] = PRESET2_GAIN;
	uint16_t preset2_phase[4] = PRESET2_PHASE;
	for(uint8_t i = 0; i<4; i++){
		TIS_Sensor.Preset[2].DDS_Preset.iDACx_Dig_Gain[i] = preset2_gain[i];
		TIS_Sensor.Preset[2].DDS_Preset.uDDSx_Phase[i] = preset2_phase[i];
	}

	TIS_Sensor.Timing_LockInData = TIME_SEND_LOCK_IN_DATA;
	TIS_Sensor.Timing_AdditionalData = TIME_SEND_ADDITIONAL_DATA;
	TIS_Sensor.Timing_MetaData = TIME_SEND_META_DATA;
	TIS_Sensor.Timing_RawData = TIME_SEND_RAW_DATA;
	TIS_Sensor.Averages_LockIn = AVERAGES_LOCK_IN;
	TIS_Sensor.MeasMode = MEASMODE_NORMAL;
	TIS_Sensor.SweepParameter.uParameter[0] = 0;
	TIS_Sensor.SweepParameter.uParameter[1] = 0;
	TIS_Sensor.SweepParameter.uParameter[2] = 0;
	TIS_Sensor.SweepParameter.fStart = 20e3;
	TIS_Sensor.SweepParameter.fStop = 1e6;
	TIS_Sensor.SweepParameter.fStep = 2e3;
	TIS_Sensor.CAN_Freq_Preset = ConstantsData->canConfig.CAN_Freq_Preset;
	ADC_Sampling.Length = ADC_C_DATA_DMA_LENGTH;
	DataWrite();

}

void InitGlobalVar(void) {

	//überprüfe, ob der Flashspeicher gesetzt wurde
	//Ungeschriebener Flash = 0x00
	uint8_t Flash_Unwritten = 1;
	for (uint32_t i = 0; i < sizeof(Flash_Data_TypeDef); i++) {
		if (*((uint8_t*) FlashData + i) != 0x00 && *((uint8_t*) FlashData + i) != 0xFF) {
			Flash_Unwritten = 0;
			break;
		}
	}

	//Falls erster Start nach Reset: Beschreibe Flash
	if (Flash_Unwritten) {
		FactoryReset();
	}

	TIS_Sensor = FlashData->TIS_Sensor;
	ADC_Sampling.Length = FlashData->ADC_Length;
	TIS_Sensor.CAN_Freq_Preset = ConstantsData->canConfig.CAN_Freq_Preset;

	//ADC_Temp_Calc_Slope_Offset(&ADC_uC_Temp_Results);

	Preset_Calc(0, TIS_Sensor.Preset[0].fFreq_soll);
	Preset_Calc(1, TIS_Sensor.Preset[1].fFreq_soll);
	Preset_Calc(2, TIS_Sensor.Preset[2].fFreq_soll);

	CAN_Set_Freq_Preset(&hcan2, TIS_Sensor.CAN_Freq_Preset);

	state_t_next = stateIdle;
}

void DataWrite(void) {

	//Erase datasector
	FLASH_eraseSector(DATA_SECTOR);

	//write TIS_sensor data
	FLASH_writeData((uint8_t *)(&FlashData->TIS_Sensor), (uint8_t*)&TIS_Sensor, sizeof(TIS_Sensor_TypeDef));

	//write ADC length
	FLASH_writeData((uint8_t *)(&FlashData->ADC_Length), (uint8_t*)(&ADC_Sampling.Length), sizeof(((ADC_Sampling_TypeDef){}).Length));
	//erklärung (ADC_Sampling_TypeDef){}).Length -> gibt die länge des members Length aus, falls sich das mal ändert

	//Update baud for bootloader
	CAN_Config_TypeDef newConfig = ConstantsData->canConfig;
	newConfig.CAN_Freq_Preset = TIS_Sensor.CAN_Freq_Preset;
	BOOT_UpdateConfig(newConfig);
}

void SoftError_Handler(AppError_t Error){
	CAN_SendError(&hcan2, Error);
}

void AS6214_Init(void) {
	AS6212_ConfigTypeDef AS6212_Config = {0};
	AS6212_Config.CR = AS6212_CR_250MS;
	AS6212_Config.SM = AS6212_SM_CONTINUOUS_CONVERSION_MODE;
	AS6212_Config.IM = AS6212_IM_COMPARATOR;
	AS6212_Config.POL = AS6212_POL_ACTIVE_LOW;
	AS6212_Config.CF = AS6212_CF_1;
	AS6212_Config.SS = AS6212_SS_NoConversionOngoing_ConversionFinished;

	AS6212_setConfig(&Temp_links, &AS6212_Config);
	AS6212_setConfig(&Temp_mitte, &AS6212_Config);
	AS6212_setConfig(&Temp_rechts, &AS6212_Config);

	AS6212_getConfig(&Temp_links, &AS6212_Config);
}

void Preset_Calc(uint8_t Preset, float fFreq){
	TIS_Sensor.Preset[Preset].fFreq_soll= fFreq;
	//Berechne Tuning Word für AD9106, Rückgabe ist-Frequenz
	TIS_Sensor.Preset[Preset].fFreq_ist = DDS_Preset_Calc(&TIS_Sensor.Preset[Preset].DDS_Preset, fFreq);
	//Erzeuge LUT für Ist-Frequenz
	LockIn_LUT_Gen(Preset);
}

/* USER CODE END 4 */

void Error_Handler(void)
{
  /* USER CODE BEGIN Error_Handler_Debug */
	/* User can add his own implementation to report the HAL error return state */
	__disable_irq();
	HAL_GPIO_WritePin(Status_LED_GPIO_Port, Status_LED_Pin, GPIO_PIN_RESET);
	HAL_NVIC_SystemReset();
	while (1) {
	}
  /* USER CODE END Error_Handler_Debug */
}
